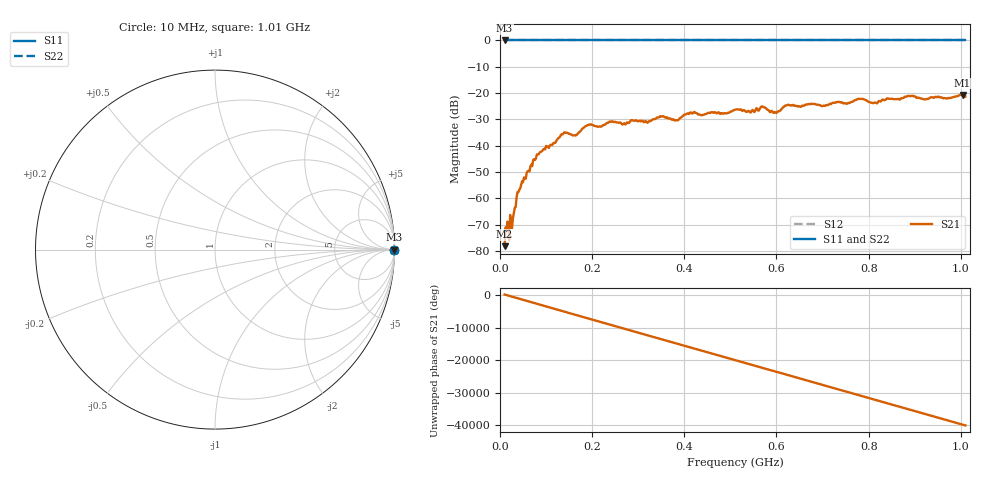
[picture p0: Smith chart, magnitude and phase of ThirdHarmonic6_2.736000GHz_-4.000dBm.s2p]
! 8/17/2025 6:45:26 AM
! C:\ANRITSUVNA\TEMP\TEMP.S2P
! CHANNEL.1
! TR.MEASUREMENT
! RAW.DATA
! RF.CORRECTION.OFF
! AVERAGING.OFF
! IF.BANDWIDTH: 5KHZ
! SWEEPTYPE:  FREQ.SWEEP(Linear)
! Reference Plane Port Info
! PORT:  PORT1  PORT2
! DISTANCE:  0  m  0  m
! TIME:  0  s  0  s
! PHASE.OFFSET:  0  deg.  0  deg.
! LOSS:  0  dB  0  dB
! REF.LOSS:  0  dB  0  dB
! REF.FREQ:  0  Hz  0  Hz
! Power Info
! POWER:  -20  dBm  -20  dBm
! EFF.POWER:  -20  dBm  -20  dBm
! SOURCE.ATTEN:  0  dB  0  dB
! TEST.ATTEN:  0  dB  0  dB
# GHZ S RI R 50.0
! FREQ.GHZ  S11RE  S11IM  S21RE  S21IM  S12RE  S12IM  S22RE  S22IM
!; PortSelection: Port_12
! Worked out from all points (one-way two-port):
!   501 points, 10 MHz to 1.01 GHz, reference 50 ohm
!   highest |S21| = -20.68 dB at 1.004 GHz (marker M1); lowest = -78.2 dB at 10 MHz (marker M2)
!   lowest |S11| = 0.0 dB at 10 MHz (marker M3)
!   |S11| at or under -10 dB: nowhere
!   |S22| runs from 0.0 to 0.0 dB; largest |S21 - S12| = 1.1
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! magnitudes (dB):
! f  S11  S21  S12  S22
! 10 MHz  0.0  -78.2  0.0  0.0
! 14 MHz  0.0  -72.2  0.0  0.0
! 24 MHz  0.0  -68.9  0.0  0.0
! 42 MHz  0.0  -56.7  0.0  0.0
! 76 MHz  0.0  -45.4  0.0  0.0
! 136 MHz  0.0  -35.7  0.0  0.0
! 162 MHz  0.0  -36.0  0.0  0.0
! 178 MHz  0.0  -33.6  0.0  0.0
! 194 MHz  0.0  -32.1  0.0  0.0
! 322 MHz  0.0  -30.9  0.0  0.0
! 344 MHz  0.0  -29.3  0.0  0.0
! 382 MHz  0.0  -30.3  0.0  0.0
! 410 MHz  0.0  -28.0  0.0  0.0
! 510 MHz  0.0  -26.3  0.0  0.0
! 540 MHz  0.0  -26.8  0.0  0.0
! 570 MHz  0.0  -25.1  0.0  0.0
! 596 MHz  0.0  -27.2  0.0  0.0
! 622 MHz  0.0  -24.6  0.0  0.0
! 678 MHz  0.0  -24.2  0.0  0.0
! 844 MHz  0.0  -22.2  0.0  0.0
! 1.004 GHz  0.0  -20.7  0.0  0.0
! 1.01 GHz  0.0  -21.3  0.0  0.0
